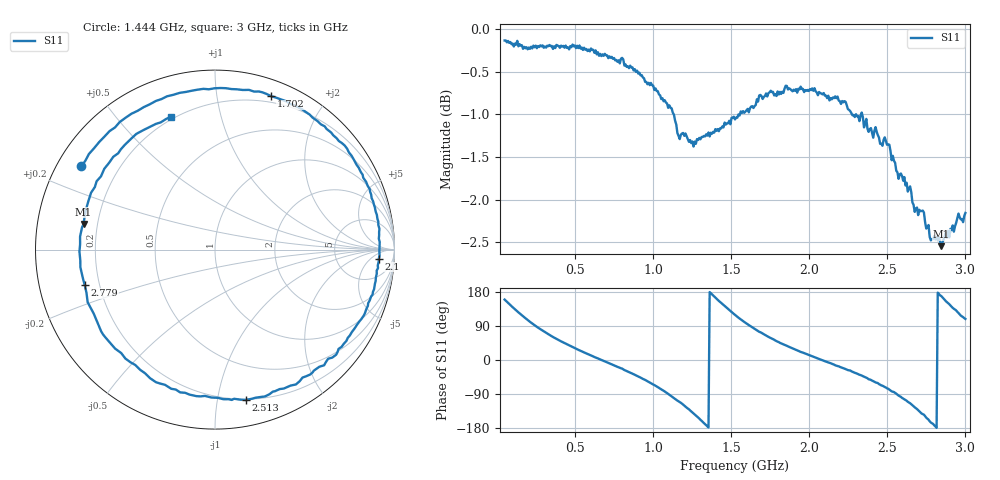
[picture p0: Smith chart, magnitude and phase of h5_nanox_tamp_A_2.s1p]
! nanovna_capture.py 2026-10-18T19:51:54+0900
! NanoVNA-F_V2 fw 0.6.0 SN 4A3639384505514B
! cal: load open short cal'ed  over 50000000-3000000000 Hz, 201 points
! points 401, avg 4
! h5 probe, tape spacer, modified (implanted) Nano X, position A (behind left button), placement 2
# HZ S RI R 50
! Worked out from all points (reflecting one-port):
!   401 points, 50 MHz to 3 GHz, reference 50 ohm
!   lowest |S11| = -2.5 dB at 2.845 GHz (marker M1), VSWR 6.88, Z = 7.34 + j4.71 ohm
!   phase of S11 starts at 159 deg and turns -771 deg over the sweep
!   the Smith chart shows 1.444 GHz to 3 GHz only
!   S11 on the Smith chart (normalised r, x): 1.444 GHz: 0.07, +0.29; 1.702 GHz: 0.14, +1.42; 2.1 GHz: 16, -10; 2.513 GHz: 0.19, -1.21; 2.779 GHz: 0.14, -0.13; 3 GHz: 0.19, +0.70
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5e7  -0.9223 0.3455
1.385e8  -0.5701 0.7936
2.19625e8  -0.1449 0.9658
3.08125e8  0.276 0.9371
4.1875e8  0.657 0.723
6.03125e8  0.9531 0.2021
7.875e8  0.8934 -0.337
1.001375e9  0.3985 -0.8366
1.089875e9  0.0445 -0.9035
1.15625e9  -0.2566 -0.8304
1.23e9  -0.5518 -0.6583
1.3185e9  -0.8292 -0.245
1.384875e9  -0.8585 0.1442
1.443875e9  -0.7439 0.4644
1.525e9  -0.4298 0.7739
1.606125e9  -0.0645 0.8957
1.702e9  0.3136 0.8543
1.89375e9  0.7887 0.4728
2.10025e9  0.9128 -0.0501
2.2625e9  0.7926 -0.4163
2.351e9  0.6304 -0.608
2.51325e9  0.1733 -0.8378
2.63125e9  -0.2787 -0.7532
2.71975e9  -0.6106 -0.4891
2.77875e9  -0.7259 -0.1961
2.845125e9  -0.7323 0.1424
2.918875e9  -0.5667 0.5172
3e9  -0.2464 0.7403
